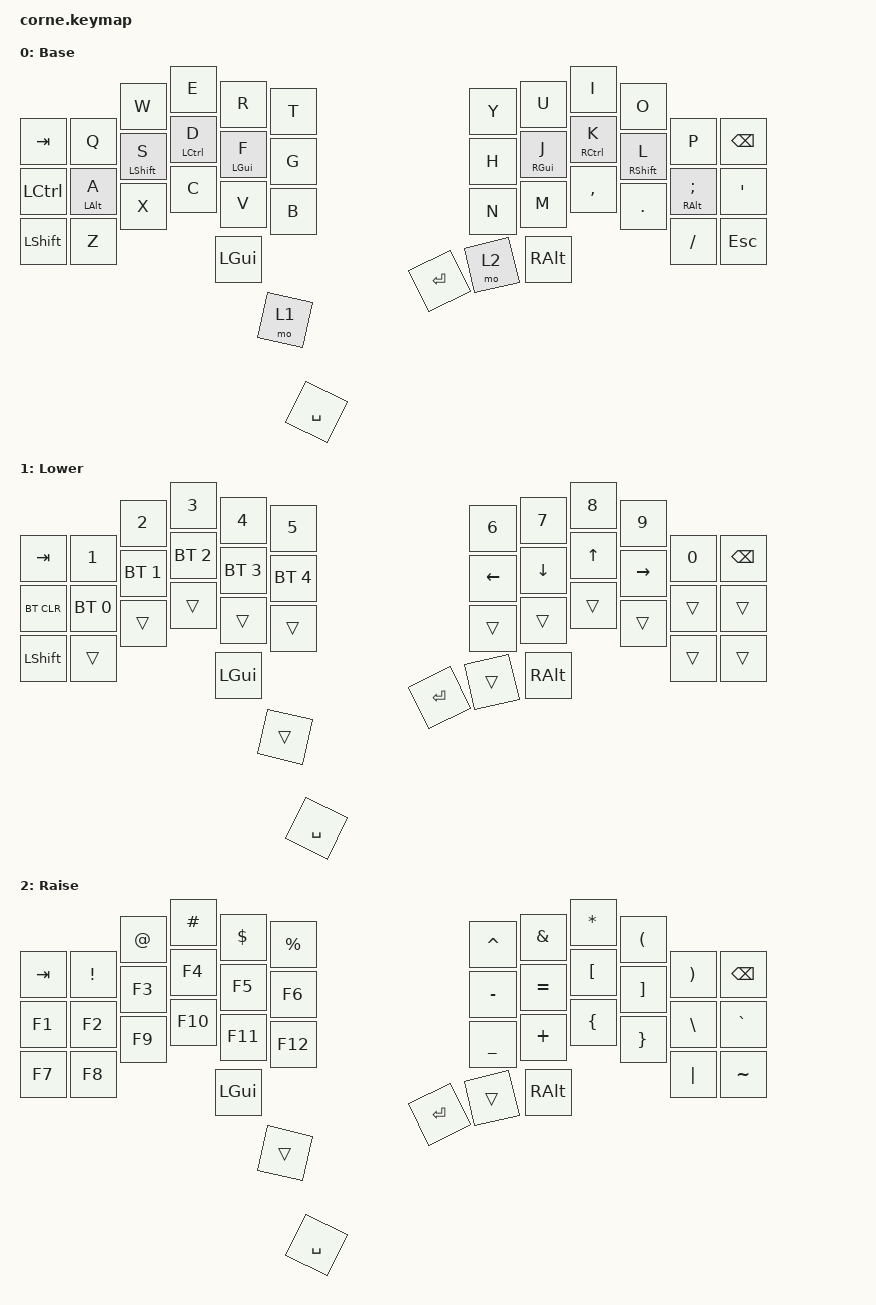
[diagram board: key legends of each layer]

/*
 * Copyright (c) 2020 The ZMK Contributors
 *
 * SPDX-License-Identifier: MIT
 */

#include <behaviors.dtsi>
#include <dt-bindings/zmk/bt.h>
#include <dt-bindings/zmk/keys.h>

/ {
    behaviors {
        homerow_mod: homerow_mod {
            compatible = "zmk,behavior-hold-tap";
            label = "HOMEROW_MOD";
            bindings = <&kp>, <&kp>;

            #binding-cells = <2>;
            tapping-term-ms = <200>;
            quick-tap-ms = <175>;
            hold-trigger-key-positions = <13 14 15 16 19 20 21 22>;
            hold-trigger-on-release;
            flavor = "balanced";
        };
    };

    keymap {
        compatible = "zmk,keymap";

        default_layer {
            display-name = "Base";

            // -----------------------------------------------------------------------------------------
            // |  TAB |  Q  |  W  |  E  |  R  |  T  |   |  Y  |  U   |  I  |  O  |  P  | BSPC |
            // | CTRL |  A  |  S  |  D  |  F  |  G  |   |  H  |  J   |  K  |  L  |  ;  |  '   |
            // | SHFT |  Z  |  X  |  C  |  V  |  B  |   |  N  |  M   |  ,  |  .  |  /  | ESC  |
            //                    | GUI | LWR | SPC |   | ENT | RSE  | ALT |

            bindings = <
&kp TAB    &kp Q                    &kp W                 &kp E                 &kp R                    &kp T        &kp Y    &kp U                     &kp I                 &kp O                       &kp P                        &kp BSPC
&kp LCTRL  &homerow_mod LEFT_ALT A  &homerow_mod LSHFT S  &homerow_mod LCTRL D  &homerow_mod LEFT_GUI F  &kp G        &kp H    &homerow_mod RIGHT_GUI J  &homerow_mod RCTRL K  &homerow_mod RIGHT_SHIFT L  &homerow_mod RIGHT_ALT SEMI  &kp SQT
&kp LSHFT  &kp Z                    &kp X                 &kp C                 &kp V                    &kp B        &kp N    &kp M                     &kp COMMA             &kp DOT                     &kp FSLH                     &kp ESC
                                                          &kp LGUI              &mo 1                    &kp SPACE    &kp RET  &mo 2                     &kp RALT
            >;
        };

        lower_layer {
            display-name = "Lower";

            // -----------------------------------------------------------------------------------------
            // |  TAB |  1  |  2  |  3  |  4  |  5  |   |  6  |  7  |  8  |  9  |  0  | BSPC |
            // | BTCLR| BT1 | BT2 | BT3 | BT4 | BT5 |   | LFT | DWN |  UP | RGT |     |      |
            // | SHFT |     |     |     |     |     |   |     |     |     |     |     |      |
            //                    | GUI |     | SPC |   | ENT |     | ALT |

            bindings = <
&kp TAB     &kp N1        &kp N2        &kp N3        &kp N4        &kp N5          &kp N6    &kp N7    &kp N8    &kp N9     &kp N0  &kp BSPC
&bt BT_CLR  &bt BT_SEL 0  &bt BT_SEL 1  &bt BT_SEL 2  &bt BT_SEL 3  &bt BT_SEL 4    &kp LEFT  &kp DOWN  &kp UP    &kp RIGHT  &trans  &trans
&kp LSHFT   &trans        &trans        &trans        &trans        &trans          &trans    &trans    &trans    &trans     &trans  &trans
                                        &kp LGUI      &trans        &kp SPACE       &kp RET   &trans    &kp RALT
            >;
        };

        raise_layer {
            display-name = "Raise";

            // -----------------------------------------------------------------------------------------
            // |  TAB |  !  |  @  |  #  |  $  |  %  |   |  ^  |  &  |  *  |  (  |  )  | BSPC |
            // | CTRL |     |     |     |     |     |   |  -  |  =  |  [  |  ]  |  \  |  `   |
            // | SHFT |     |     |     |     |     |   |  _  |  +  |  {  |  }  | "|" |  ~   |
            //                    | GUI |     | SPC |   | ENT |     | ALT |

            bindings = <
&kp TAB  &kp EXCL  &kp AT  &kp HASH  &kp DLLR  &kp PRCNT    &kp CARET  &kp AMPS   &kp ASTRK  &kp LPAR  &kp RPAR  &kp BSPC
&kp F1   &kp F2    &kp F3  &kp F4    &kp F5    &kp F6       &kp MINUS  &kp EQUAL  &kp LBKT   &kp RBKT  &kp BSLH  &kp GRAVE
&kp F7   &kp F8    &kp F9  &kp F10   &kp F11   &kp F12      &kp UNDER  &kp PLUS   &kp LBRC   &kp RBRC  &kp PIPE  &kp TILDE
                           &kp LGUI  &trans    &kp SPACE    &kp RET    &trans     &kp RALT
            >;
        };
    };
};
